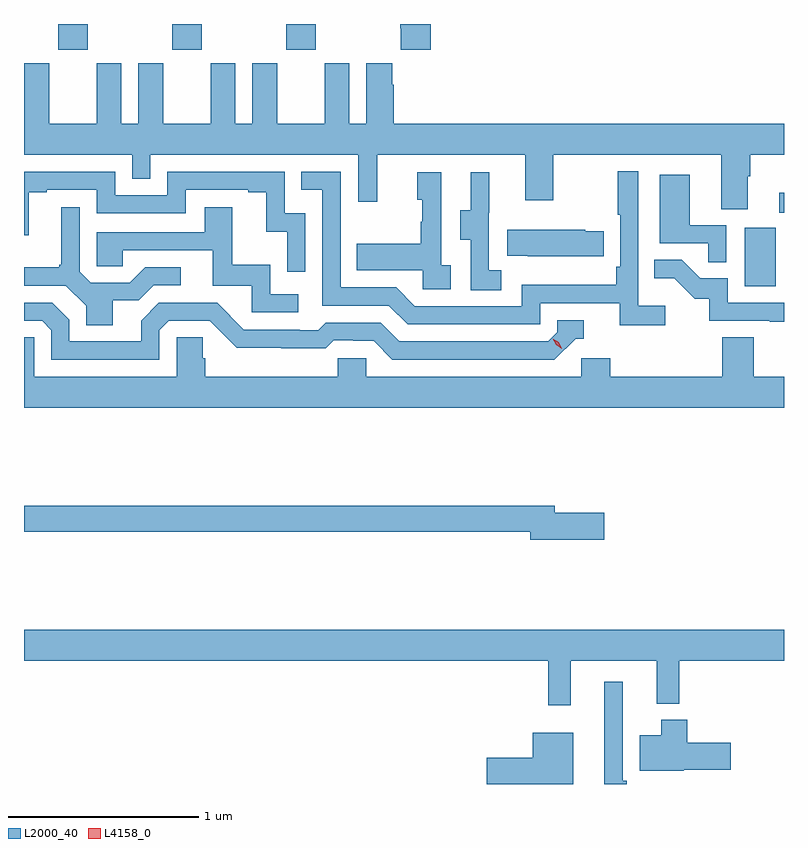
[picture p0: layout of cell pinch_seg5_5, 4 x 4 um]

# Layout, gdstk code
import gdstk
lib = gdstk.Library(unit=1e-6, precision=1e-09)
def R(c, l, rs):  # rectangles x0, y0, x1, y1
    for r in rs: c.add(gdstk.rectangle(r[:2], r[2:], *l))
def A(c, l, x, y, w, h, nx, ny, dx, dy):  # array of equal rectangles
    R(c, l, [(x+i*dx, y+j*dy, x+i*dx+w, y+j*dy+h) for i in range(nx) for j in range(ny)])
def P(c, l, *ps):  # polygons
    for p in ps: c.add(gdstk.Polygon(p, *l))
L2000_40 = (2000, 40)
L4158_0 = (4158, 0)

pinch_seg5_5 = lib.new_cell('pinch_seg5_5')
A(pinch_seg5_5, L2000_40, 1131.889, 913.257, 0.155, 0.135, 3, 1, 0.6, 0)
R(pinch_seg5_5, L2000_40, [(1135.502,912.012,1135.666,912.319), (1135.683,912.399,1135.709,912.505)])
P(pinch_seg5_5, L2000_40, [(1133.849,913.392),(1133.689,913.392),(1133.689,913.369),(1133.693,913.369),(1133.693,913.257),(1133.849,913.257)],
  [(1135.519,912.592),(1135.532,912.592),(1135.532,912.704),(1135.709,912.704),(1135.709,912.868),(1133.654,912.868),(1133.654,913.073),(1133.647,913.073),(1133.647,913.186),(1133.51,913.186),(1133.51,912.868),(1133.422,912.868),(1133.422,913.186),(1133.291,913.186),(1133.291,912.868),(1133.041,912.868),(1133.041,913.186),(1132.91,913.186),(1132.91,912.868),(1132.822,912.868),(1132.822,913.186),(1132.691,913.186),(1132.691,912.868),(1132.441,912.868),(1132.441,913.186),(1132.31,913.186),(1132.31,912.868),(1132.222,912.868),(1132.222,913.186),(1132.091,913.186),(1132.091,912.868),(1131.841,912.868),(1131.841,913.186),(1131.71,913.186),(1131.71,912.868),(1131.709,912.868),(1131.709,912.704),(1132.278,912.704),(1132.278,912.577),(1132.374,912.577),(1132.374,912.704),(1133.469,912.704),(1133.469,912.456),(1133.567,912.456),(1133.567,912.704),(1134.347,912.704),(1134.347,912.465),(1134.495,912.465),(1134.495,912.704),(1135.379,912.704),(1135.379,912.418),(1135.519,912.418)],
  [(1135.084,911.908),(1134.942,911.908),(1134.942,912.616),(1134.834,912.616),(1134.834,912.388),(1134.846,912.388),(1134.846,912.115),(1134.826,912.115),(1134.826,912.019),(1134.33,912.019),(1134.33,911.907),(1133.766,911.907),(1133.667,912.006),(1133.376,912.006),(1133.376,912.615),(1133.167,912.615),(1133.167,912.519),(1133.28,912.519),(1133.28,911.91),(1133.63,911.91),(1133.729,911.811),(1134.426,911.811),(1134.426,911.922),(1134.845,911.922),(1134.845,911.806),(1135.084,911.806)],
  [(1133.19,912.396),(1133.082,912.396),(1133.082,912.615),(1132.464,912.615),(1132.464,912.492),(1132.188,912.492),(1132.188,912.615),(1131.709,912.615),(1131.709,912.281),(1131.733,912.281),(1131.733,912.507),(1131.829,912.507),(1131.829,912.519),(1132.092,912.519),(1132.092,912.396),(1132.56,912.396),(1132.56,912.519),(1132.889,912.519),(1132.889,912.507),(1132.985,912.507),(1132.985,912.299),(1133.094,912.299),(1133.094,912.087),(1133.19,912.087)],
  [(1134.22,912.095),(1134.156,912.095),(1134.156,912.399),(1134.158,912.399),(1134.158,912.613),(1134.059,912.613),(1134.059,912.411),(1134.005,912.411),(1134.005,912.256),(1134.06,912.256),(1134.06,911.992),(1134.22,911.992)],
  [(1133.956,912.122),(1133.904,912.122),(1133.904,912.613),(1133.78,912.613),(1133.78,912.468),(1133.806,912.468),(1133.806,912.35),(1133.796,912.35),(1133.796,912.235),(1133.461,912.235),(1133.461,912.095),(1133.808,912.095),(1133.808,911.997),(1133.956,911.997)],
  [(1135.404,912.333),(1135.213,912.333),(1135.213,912.598),(1135.055,912.598),(1135.055,912.237),(1135.309,912.237),(1135.309,912.139),(1135.404,912.139)],
  [(1132.177,911.938),(1132.312,911.938),(1132.392,912.018),(1132.534,912.018),(1132.534,912.111),(1132.346,912.111),(1132.265,912.03),(1132.059,912.03),(1132.002,912.087),(1132.002,912.427),(1131.905,912.427),(1131.905,912.124),(1131.894,912.124),(1131.894,912.112),(1131.709,912.112),(1131.709,912.015),(1131.93,912.015),(1132.037,911.908),(1132.037,911.806),(1132.177,911.806)],
  [(1133.152,911.97),(1133.004,911.97),(1133.004,912.124),(1132.805,912.124),(1132.805,912.427),(1132.661,912.427),(1132.661,912.297),(1132.092,912.297),(1132.092,912.117),(1132.229,912.117),(1132.229,912.201),(1132.703,912.201),(1132.703,912.015),(1132.908,912.015),(1132.908,911.874),(1133.152,911.874)],
  [(1134.761,912.3),(1134.663,912.3),(1134.663,912.31),(1134.253,912.31),(1134.253,912.173),(1134.361,912.173),(1134.361,912.17),(1134.761,912.17)],
  [(1135.709,911.925),(1135.413,911.925),(1135.413,912.054),(1135.269,912.054),(1135.171,912.152),(1135.027,912.152),(1135.027,912.053),(1135.131,912.053),(1135.238,911.946),(1135.315,911.946),(1135.315,911.829),(1135.633,911.829),(1135.633,911.824),(1135.709,911.824)],
  [(1132.422,911.781),(1132.47,911.829),(1132.686,911.829),(1132.828,911.687),(1133.064,911.687),(1133.064,911.685),(1133.297,911.685),(1133.339,911.727),(1133.442,911.727),(1133.442,911.724),(1133.549,911.724),(1133.648,911.625),(1134.501,911.625),(1134.612,911.736),(1134.655,911.736),(1134.655,911.832),(1134.516,911.832),(1134.516,911.769),(1134.468,911.721),(1133.685,911.721),(1133.586,911.82),(1133.297,911.82),(1133.258,911.781),(1133.159,911.781),(1133.159,911.784),(1132.866,911.784),(1132.725,911.925),(1132.419,911.925),(1132.325,911.831),(1132.325,911.721),(1131.948,911.721),(1131.948,911.835),(1131.858,911.925),(1131.709,911.925),(1131.709,911.829),(1131.804,911.829),(1131.852,911.781),(1131.852,911.625),(1132.422,911.625)],
  [(1135.709,911.536),(1135.55,911.536),(1135.55,911.744),(1135.385,911.744),(1135.385,911.536),(1134.794,911.536),(1134.794,911.634),(1134.642,911.634),(1134.642,911.536),(1133.511,911.536),(1133.511,911.634),(1133.361,911.634),(1133.361,911.536),(1132.664,911.536),(1132.664,911.634),(1132.649,911.634),(1132.649,911.744),(1132.512,911.744),(1132.512,911.536),(1131.762,911.536),(1131.762,911.744),(1131.709,911.744),(1131.709,911.372),(1135.709,911.372)],
  [(1134.763,910.82),(1134.502,910.82),(1134.502,910.856),(1131.709,910.856),(1131.709,910.72),(1134.374,910.72),(1134.374,910.678),(1134.763,910.678)],
  [(1134.587,910.04),(1135.04,910.04),(1135.04,909.815),(1135.157,909.815),(1135.157,910.04),(1135.709,910.04),(1135.709,910.204),(1131.709,910.204),(1131.709,910.04),(1134.469,910.04),(1134.469,909.807),(1134.587,909.807)],
  [(1134.881,909.409),(1134.861,909.409),(1134.861,909.931),(1134.764,909.931),(1134.764,909.392),(1134.881,909.392)],
  [(1135.182,909.467),(1135.429,909.467),(1135.429,909.609),(1135.199,909.609),(1135.199,909.73),(1135.064,909.73),(1135.064,909.649),(1134.95,909.649),(1134.95,909.461),(1135.182,909.461)],
  [(1134.601,909.661),(1134.386,909.661),(1134.386,909.53),(1134.144,909.53),(1134.144,909.392),(1134.601,909.392)])
P(pinch_seg5_5, L4158_0, [(1134.539,911.683),(1134.509,911.703),(1134.493,911.735),(1134.493,911.735),(1134.493,911.735),(1134.524,911.716),(1134.54,911.684),(1134.54,911.683)])

lib.write_gds('pinch_seg5_5.gds')
